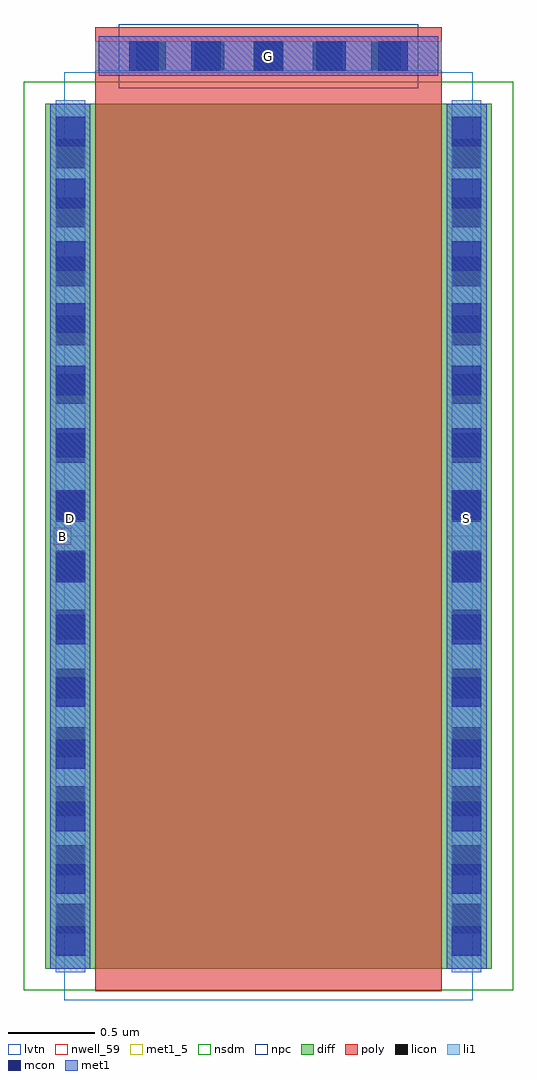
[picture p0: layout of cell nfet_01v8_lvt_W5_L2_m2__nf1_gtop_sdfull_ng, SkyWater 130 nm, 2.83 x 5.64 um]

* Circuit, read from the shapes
.subckt nfet_01v8_lvt_W5_L2_m2__nf1_gtop_sdfull_ng B D G S
XM1 S G D B sky130_fd_pr__nfet_01v8_lvt w=5 l=2
.ends

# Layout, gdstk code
import gdstk
lib = gdstk.Library(unit=1e-6, precision=1e-09)
def R(c, l, rs):  # rectangles x0, y0, x1, y1
    for r in rs: c.add(gdstk.rectangle(r[:2], r[2:], *l))
def A(c, l, x, y, w, h, nx, ny, dx, dy):  # array of equal rectangles
    R(c, l, [(x+i*dx, y+j*dy, x+i*dx+w, y+j*dy+h) for i in range(nx) for j in range(ny)])
nwell_59 = (64, 59)
diff = (65, 20)
poly = (66, 20)
licon = (66, 44)
li1 = (67, 20)
mcon = (67, 44)
met1_5 = (68, 5)
met1 = (68, 20)
nsdm = (93, 44)
npc = (95, 20)
lvtn = (125, 44)

sky130_fd_pr__nfet_01v8_ = lib.new_cell('sky130_fd_pr__nfet_01v8_lvt_W5CJUM')
R(sky130_fd_pr__nfet_01v8_, diff, [(-1.29,-2.655,1.29,2.345)])
R(sky130_fd_pr__nfet_01v8_, poly, [(-1,-2.785,1,2.785)])
A(sky130_fd_pr__nfet_01v8_, licon, -1.23, -2.45, 0.17, 0.17, 1, 14, 0, 0.34)
A(sky130_fd_pr__nfet_01v8_, licon, 1.06, -2.45, 0.17, 0.17, 1, 14, 0, 0.34)
A(sky130_fd_pr__nfet_01v8_, licon, -0.765, 2.535, 0.17, 0.17, 5, 1, 0.34, 0)
R(sky130_fd_pr__nfet_01v8_, li1, [(-1.23,-2.675,-1.06,2.365), (1.06,-2.675,1.23,2.365), (-1,2.535,1,2.705)])
A(sky130_fd_pr__nfet_01v8_, mcon, -1.23, -2.58, 0.17, 0.17, 1, 14, 0, 0.36)
A(sky130_fd_pr__nfet_01v8_, mcon, 1.06, -2.58, 0.17, 0.17, 1, 14, 0, 0.36)
A(sky130_fd_pr__nfet_01v8_, mcon, -0.805, 2.535, 0.17, 0.17, 5, 1, 0.36, 0)
R(sky130_fd_pr__nfet_01v8_, met1, [(-1.26,-2.655,-1.03,2.345), (1.03,-2.655,1.26,2.345), (-0.98,2.505,0.98,2.735)])
R(sky130_fd_pr__nfet_01v8_, nsdm, [(-1.415,-2.78,1.415,2.47)])
R(sky130_fd_pr__nfet_01v8_, npc, [(-0.865,2.435,0.865,2.805)])
R(sky130_fd_pr__nfet_01v8_, lvtn, [(-1.18,-2.835,1.18,2.525)])
sky130_fd_pr__nfet_01v8_.add(gdstk.Label('D', (-1.145,-0.155), layer=67, texttype=5))
sky130_fd_pr__nfet_01v8_.add(gdstk.Label('S', (1.145,-0.155), layer=67, texttype=5))
sky130_fd_pr__nfet_01v8_.add(gdstk.Label('G', (0,2.62), layer=67, texttype=5))

nfet_01v8_lvt_w5_l2_m2__ = lib.new_cell('nfet_01v8_lvt_W5_L2_m2__nf1_gtop_sdfull_ng')
R(nfet_01v8_lvt_w5_l2_m2__, nwell_59, [(0.05,2.58,0.15,2.68)])
R(nfet_01v8_lvt_w5_l2_m2__, met1_5, [(0.03,2.63,0.26,2.83), (2.32,2.63,2.55,2.83), (0.31,5.29,2.27,5.52)])
R(nfet_01v8_lvt_w5_l2_m2__, met1, [(0.03,2.63,0.26,2.83), (2.32,2.63,2.55,2.83), (0.31,5.29,2.27,5.52)])
nfet_01v8_lvt_w5_l2_m2__.add(gdstk.Reference(sky130_fd_pr__nfet_01v8_, (1.29,2.785)))
nfet_01v8_lvt_w5_l2_m2__.add(gdstk.Label('D', (0.145,2.73), layer=68, texttype=5))
nfet_01v8_lvt_w5_l2_m2__.add(gdstk.Label('S', (2.435,2.73), layer=68, texttype=5))
nfet_01v8_lvt_w5_l2_m2__.add(gdstk.Label('G', (1.29,5.405), layer=68, texttype=5))
nfet_01v8_lvt_w5_l2_m2__.add(gdstk.Label('B', (0.1,2.63), layer=64, texttype=59))

lib.write_gds('nfet_01v8_lvt_W5_L2_m2__nf1_gtop_sdfull_ng.gds')
